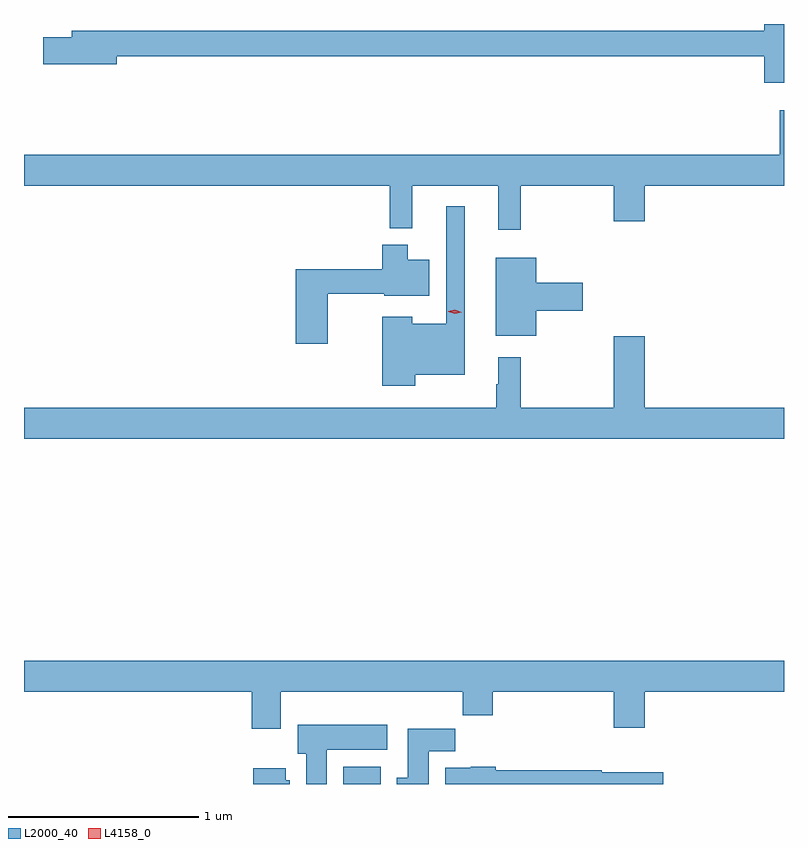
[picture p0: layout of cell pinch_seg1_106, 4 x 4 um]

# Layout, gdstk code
import gdstk
lib = gdstk.Library(unit=1e-6, precision=1e-09)
def R(c, l, rs):  # rectangles x0, y0, x1, y1
    for r in rs: c.add(gdstk.rectangle(r[:2], r[2:], *l))
def P(c, l, *ps):  # polygons
    for p in ps: c.add(gdstk.Polygon(p, *l))
L2000_40 = (2000, 40)
L4158_0 = (4158, 0)

pinch_seg1_106 = lib.new_cell('pinch_seg1_106')
R(pinch_seg1_106, L2000_40, [(1050.698,555.243,1050.895,555.334)])
P(pinch_seg1_106, L2000_40, [(1053.017,559.243),(1052.912,559.243),(1052.912,559.208),(1049.267,559.208),(1049.267,559.172),(1049.118,559.172),(1049.118,559.03),(1049.506,559.03),(1049.506,559.072),(1052.912,559.072),(1052.912,558.935),(1053.017,558.935)],
  [(1051.631,558.392),(1052.12,558.392),(1052.12,558.204),(1052.284,558.204),(1052.284,558.392),(1053.017,558.392),(1053.017,558.79),(1052.995,558.79),(1052.995,558.556),(1049.017,558.556),(1049.017,558.392),(1050.943,558.392),(1050.943,558.167),(1051.061,558.167),(1051.061,558.392),(1051.514,558.392),(1051.514,558.159),(1051.631,558.159)],
  [(1051.077,557.396),(1051.336,557.396),(1051.336,558.283),(1051.239,558.283),(1051.239,557.665),(1051.06,557.665),(1051.06,557.701),(1050.902,557.701),(1050.902,557.339),(1051.077,557.339)],
  [(1050.616,557.824),(1050.914,557.824),(1050.914,557.813),(1051.15,557.813),(1051.15,558.001),(1051.036,558.001),(1051.036,558.082),(1050.902,558.082),(1050.902,557.953),(1050.446,557.953),(1050.446,557.559),(1050.616,557.559)],
  [(1051.714,557.735),(1051.957,557.735),(1051.957,557.882),(1051.714,557.882),(1051.714,558.013),(1051.499,558.013),(1051.499,557.603),(1051.714,557.603)],
  [(1053.017,557.224),(1052.284,557.224),(1052.284,557.599),(1052.12,557.599),(1052.12,557.224),(1051.631,557.224),(1051.631,557.488),(1051.514,557.488),(1051.514,557.348),(1051.503,557.348),(1051.503,557.224),(1049.017,557.224),(1049.017,557.06),(1053.017,557.06)],
  [(1050.367,555.728),(1051.327,555.728),(1051.327,555.604),(1051.484,555.604),(1051.484,555.728),(1052.12,555.728),(1052.12,555.54),(1052.284,555.54),(1052.284,555.728),(1053.017,555.728),(1053.017,555.892),(1049.017,555.892),(1049.017,555.728),(1050.215,555.728),(1050.215,555.534),(1050.367,555.534)],
  [(1050.61,555.422),(1050.928,555.422),(1050.928,555.556),(1050.458,555.556),(1050.458,555.402),(1050.503,555.402),(1050.503,555.243),(1050.61,555.243)],
  [(1051.147,555.416),(1051.286,555.416),(1051.286,555.535),(1051.037,555.535),(1051.037,555.276),(1050.98,555.276),(1050.98,555.243),(1051.147,555.243)],
  [(1052.381,555.306),(1052.058,555.306),(1052.058,555.316),(1051.499,555.316),(1051.499,555.334),(1051.368,555.334),(1051.368,555.328),(1051.235,555.328),(1051.235,555.243),(1052.381,555.243)],
  [(1050.415,555.264),(1050.394,555.264),(1050.394,555.325),(1050.224,555.325),(1050.224,555.243),(1050.415,555.243)])
P(pinch_seg1_106, L4158_0, [(1051.284,557.718),(1051.249,557.729),(1051.249,557.729),(1051.249,557.73),(1051.285,557.738),(1051.32,557.726),(1051.32,557.726),(1051.32,557.726)])

lib.write_gds('pinch_seg1_106.gds')
